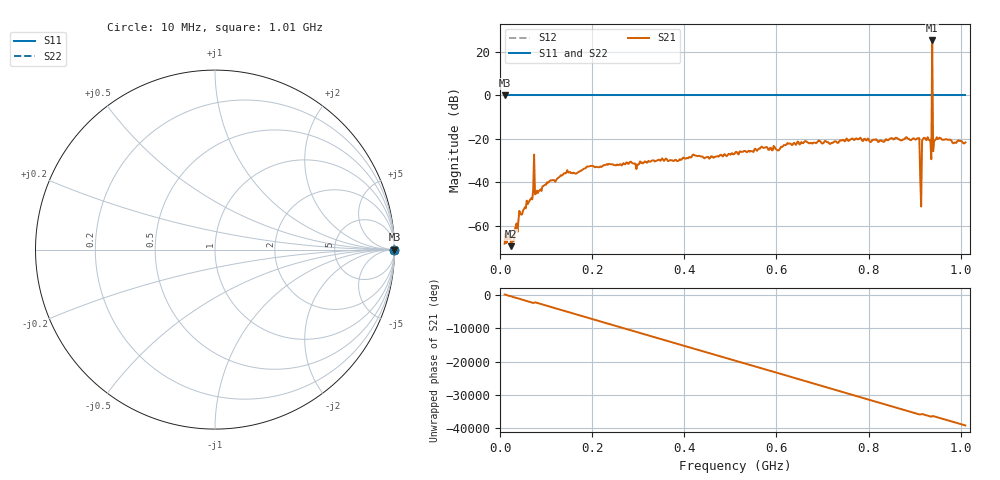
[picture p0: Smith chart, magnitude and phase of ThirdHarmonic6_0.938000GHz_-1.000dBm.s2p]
! 8/16/2025 6:32:31 AM
! C:\ANRITSUVNA\TEMP\TEMP.S2P
! CHANNEL.1
! TR.MEASUREMENT
! RAW.DATA
! RF.CORRECTION.OFF
! AVERAGING.OFF
! IF.BANDWIDTH: 5KHZ
! SWEEPTYPE:  FREQ.SWEEP(Linear)
! Reference Plane Port Info
! PORT:  PORT1  PORT2
! DISTANCE:  0  m  0  m
! TIME:  0  s  0  s
! PHASE.OFFSET:  0  deg.  0  deg.
! LOSS:  0  dB  0  dB
! REF.LOSS:  0  dB  0  dB
! REF.FREQ:  0  Hz  0  Hz
! Power Info
! POWER:  -20  dBm  -20  dBm
! EFF.POWER:  -20  dBm  -20  dBm
! SOURCE.ATTEN:  0  dB  0  dB
! TEST.ATTEN:  0  dB  0  dB
# GHZ S RI R 50.0
! FREQ.GHZ  S11RE  S11IM  S21RE  S21IM  S12RE  S12IM  S22RE  S22IM
!; PortSelection: Port_12
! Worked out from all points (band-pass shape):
!   501 points, 10 MHz to 1.01 GHz, reference 50 ohm
!   highest |S21| = 25.39 dB at 938 MHz (marker M1); lowest = -69.5 dB at 24 MHz (marker M2)
!   |S21| within 3 dB of the highest: 937.8905 MHz to 938.1175 MHz (227 kHz wide, 0.0242 % of centre)
!   lowest |S11| = 0.0 dB at 10 MHz (marker M3)
!   |S11| at or under -10 dB: nowhere
!   |S22| runs from 0.0 to 0.0 dB; largest |S21 - S12| = 18
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0.01  1 0  -0.000342 0.00017  1 0  1 0
0.024  1 0  0.000331 -5.01e-05  1 0  1 0
0.066  1 0  0.0027 0.00302  1 0  1 0
0.076  1 0  0.00524 -0.000349  1 0  1 0
0.08  1 0  -0.00587 -0.00247  1 0  1 0
0.142  1 0  -0.0153 -0.00433  1 0  1 0
0.178  1 0  -0.0184 -0.00504  1 0  1 0
0.344  1 0  0.0306 -0.0128  1 0  1 0
0.51  1 0  -0.0417 0.0212  1 0  1 0
0.678  1 0  -0.0632 -0.0452  1 0  1 0
0.844  1 0  0.0961 -0.0042  1 0  1 0
0.906  1 0  0.1015 0.016  1 0  1 0
0.91  1 0  -0.0957 -0.0393  1 0  1 0
0.914  1 0  -0.00237 -0.00141  1 0  1 0
0.916  1 0  0.0744 -0.0502  1 0  1 0
0.92  1 0  -0.1004 0.0323  1 0  1 0
0.932  1 0  0.0778 0.0507  1 0  1 0
0.934  1 0  0.0661 -0.065  1 0  1 0
0.938  1 0  14.85 11.19  1 0  1 0
0.942  1 0  0.087 -0.00606  1 0  1 0
0.944  1 0  0.0127 -0.0919  1 0  1 0
1.01  1 0  -0.0585 0.0584  1 0  1 0
